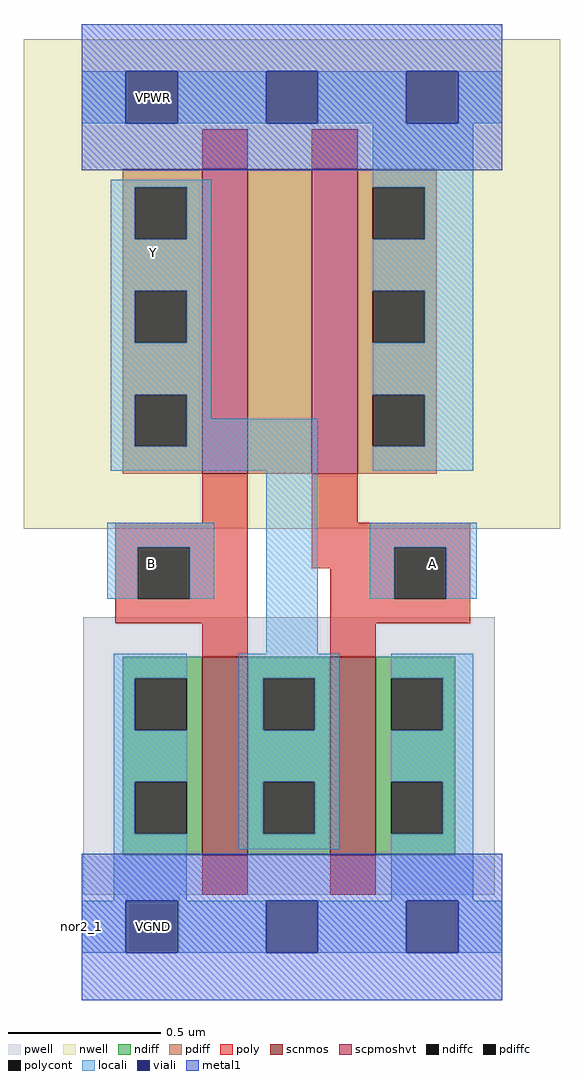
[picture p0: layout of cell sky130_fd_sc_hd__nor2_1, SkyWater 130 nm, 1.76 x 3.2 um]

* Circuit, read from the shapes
.subckt sky130_fd_sc_hd__nor2_1 VGND VPWR VPB VNB A B Y
XM1 Y B VGND VNB sky130_fd_pr__nfet_01v8 w=0.65 l=0.15
XM2 VGND A Y VNB sky130_fd_pr__nfet_01v8 w=0.65 l=0.15
XM3 n1 B Y VPB sky130_fd_pr__pfet_01v8_hvt w=1 l=0.15
XM4 VPWR A n1 VPB sky130_fd_pr__pfet_01v8_hvt w=1 l=0.15
.ends

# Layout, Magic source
magic
tech sky130B
magscale 1 2
<< nwell >>
rect -38 221 314 542
<< pwell >>
rect 1 -19 271 163
rect 30 -57 64 -19
<< scnmos >>
rect 79 7 109 137
rect 163 7 193 137
<< scpmoshvt >>
rect 79 257 109 457
rect 151 257 181 457
<< ndiff >>
rect 27 123 79 137
rect 27 89 35 123
rect 69 89 79 123
rect 27 55 79 89
rect 27 21 35 55
rect 69 21 79 55
rect 27 7 79 21
rect 109 123 163 137
rect 109 89 119 123
rect 153 89 163 123
rect 109 55 163 89
rect 109 21 119 55
rect 153 21 163 55
rect 109 7 163 21
rect 193 123 245 137
rect 193 89 203 123
rect 237 89 245 123
rect 193 55 245 89
rect 193 21 203 55
rect 237 21 245 55
rect 193 7 245 21
<< pdiff >>
rect 27 445 79 457
rect 27 411 35 445
rect 69 411 79 445
rect 27 377 79 411
rect 27 343 35 377
rect 69 343 79 377
rect 27 309 79 343
rect 27 275 35 309
rect 69 275 79 309
rect 27 257 79 275
rect 109 257 151 457
rect 181 445 233 457
rect 181 411 191 445
rect 225 411 233 445
rect 181 377 233 411
rect 181 343 191 377
rect 225 343 233 377
rect 181 309 233 343
rect 181 275 191 309
rect 225 275 233 309
rect 181 257 233 275
<< ndiffc >>
rect 35 89 69 123
rect 35 21 69 55
rect 119 89 153 123
rect 119 21 153 55
rect 203 89 237 123
rect 203 21 237 55
<< pdiffc >>
rect 35 411 69 445
rect 35 343 69 377
rect 35 275 69 309
rect 191 411 225 445
rect 191 343 225 377
rect 191 275 225 309
<< poly >>
rect 79 457 109 483
rect 151 457 181 483
rect 79 225 109 257
rect 22 209 109 225
rect 22 175 37 209
rect 71 175 109 209
rect 151 225 181 257
rect 151 209 255 225
rect 151 195 205 209
rect 22 159 109 175
rect 79 137 109 159
rect 163 175 205 195
rect 239 175 255 209
rect 163 159 255 175
rect 163 137 193 159
rect 79 -19 109 7
rect 163 -19 193 7
<< polycont >>
rect 37 175 71 209
rect 205 175 239 209
<< locali >>
rect 0 487 29 521
rect 63 487 121 521
rect 155 487 213 521
rect 247 487 276 521
rect 19 445 85 450
rect 19 411 35 445
rect 69 411 85 445
rect 19 377 85 411
rect 19 343 35 377
rect 69 343 85 377
rect 19 309 85 343
rect 19 275 35 309
rect 69 293 85 309
rect 191 445 257 487
rect 225 411 257 445
rect 191 377 257 411
rect 225 343 257 377
rect 191 309 257 343
rect 69 275 155 293
rect 19 259 155 275
rect 225 275 257 309
rect 191 259 257 275
rect 17 209 87 225
rect 17 175 37 209
rect 71 175 87 209
rect 121 139 155 259
rect 189 209 259 225
rect 189 175 205 209
rect 239 175 259 209
rect 21 123 69 139
rect 21 89 35 123
rect 21 55 69 89
rect 21 21 35 55
rect 21 -23 69 21
rect 103 123 169 139
rect 103 89 119 123
rect 153 89 169 123
rect 103 55 169 89
rect 103 21 119 55
rect 153 21 169 55
rect 103 11 169 21
rect 203 123 257 139
rect 237 89 257 123
rect 203 55 257 89
rect 237 21 257 55
rect 203 -23 257 21
rect 0 -57 29 -23
rect 63 -57 121 -23
rect 155 -57 213 -23
rect 247 -57 276 -23
<< viali >>
rect 29 487 63 521
rect 121 487 155 521
rect 213 487 247 521
rect 29 -57 63 -23
rect 121 -57 155 -23
rect 213 -57 247 -23
<< metal1 >>
rect 0 521 276 552
rect 0 487 29 521
rect 63 487 121 521
rect 155 487 213 521
rect 247 487 276 521
rect 0 456 276 487
rect 0 -23 276 8
rect 0 -57 29 -23
rect 63 -57 121 -23
rect 155 -57 213 -23
rect 247 -57 276 -23
rect 0 -88 276 -57
<< labels >>
rlabel comment s 0 -40 0 -40 4 nor2_1
flabel metal1 s 30 -57 64 -23 0 FreeSans 200 0 0 0 VGND
port 2 nsew
flabel metal1 s 30 487 64 521 0 FreeSans 200 0 0 0 VPWR
port 3 nsew
flabel nwell s 30 487 64 521 0 FreeSans 200 0 0 0 VPB
port 5 nsew
flabel pwell s 30 -57 64 -23 0 FreeSans 200 0 0 0 VNB
port 6 nsew
flabel locali s 29 181 63 215 0 FreeSans 200 0 0 0 B
port 8 nsew
flabel locali s 30 385 64 419 0 FreeSans 200 0 0 0 Y
port 9 nsew
flabel locali s 213 181 247 215 0 FreeSans 200 0 0 0 A
port 7 nsew
<< properties >>
string FIXED_BBOX 0 -40 276 504
string path 0.000 -1.000 6.900 -1.000 
<< end >>
